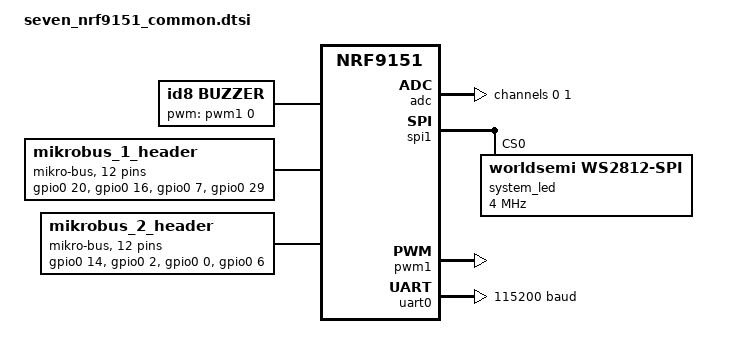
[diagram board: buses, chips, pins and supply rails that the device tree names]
/*
 * Copyright (c) 2026 ID8 Engineering AB
 *
 * SPDX-License-Identifier: Apache-2.0
 */

#include "seven_nrf9151_common-pinctrl.dtsi"
#include <zephyr/dt-bindings/gpio/gpio.h>
#include <zephyr/dt-bindings/led/led.h>
#include <zephyr/dt-bindings/pwm/pwm.h>
#include <zephyr/dt-bindings/regulator/npm13xx.h>
#include <nordic/nrf91xx_partition.dtsi>

/ {
	chosen {
		zephyr,console = &uart0;
		zephyr,led-strip = &system_led;
		zephyr,shell-uart = &uart0;
		zephyr,uart-mcumgr = &uart0;
		ncs,at-host-uart = &uart0;
	};

	/*
	 * Seven provides default serial routing for the mikroBUS™ sockets:
	 *   - mikroBUS™ 1 uses uart2 / i2c2 / spi2
	 *   - mikroBUS™ 2 uses uart3 / i2c3 / spi3
	 *
	 * Application overlays enable the function they need on the target socket.
	 *
	 * On nRF9151, the serial blocks are multiplexed:
	 *   - uart1 / i2c1 / spi1 share one hardware block
	 *   - uart2 / i2c2 / spi2 share one hardware block
	 *   - uart3 / i2c3 / spi3 share one hardware block
	 *
	 * Only one function from each group can be enabled at a time, so each
	 * mikroBUS™ socket may use UART or I2C or SPI, but not multiple of those
	 * functions simultaneously.
	 *
	 * For the non-secure target, uart1 is disabled by default to match the
	 * upstream nrf9151dk behavior where TF-M uses it by default.
	 *
	 * The on-board RGB LED uses spi1 with MOSI on P0.18 by default, so serial
	 * block 1 is not available for mikroBUS™ overlays unless that LED route is
	 * overridden.
	 */

	buzzer: buzzer {
		compatible = "id8,buzzer";
		pwms = <&pwm1 0 PWM_MSEC(20) PWM_POLARITY_NORMAL>;
		status = "okay";
	};

	mikrobus_1_header: mikrobus-connector-1 {
		compatible = "mikro-bus";
		#gpio-cells = <2>;
		gpio-map-mask = <0xffffffff 0xffffffc0>;
		gpio-map-pass-thru = <0 0x3f>;
		gpio-map = <0 0 &gpio0 20 0>,  /* AN */
			   <1 0 &gpio0 16 0>,  /* RST */
			   <2 0 &gpio0 7 0>,   /* CS */
			   <3 0 &gpio0 29 0>,  /* SCK */
			   <4 0 &gpio0 28 0>,  /* MISO */
			   <5 0 &gpio0 21 0>,  /* MOSI */
			   <6 0 &gpio0 17 0>,  /* PWM */
			   <7 0 &gpio0 15 0>,  /* INT */
			   <8 0 &gpio0 13 0>,  /* RX */
			   <9 0 &gpio0 12 0>,  /* TX */
			   <10 0 &gpio0 23 0>, /* SCL */
			   <11 0 &gpio0 22 0>; /* SDA */
	};

	mikrobus_2_header: mikrobus-connector-2 {
		compatible = "mikro-bus";
		#gpio-cells = <2>;
		gpio-map-mask = <0xffffffff 0xffffffc0>;
		gpio-map-pass-thru = <0 0x3f>;
		gpio-map = <0 0 &gpio0 14 0>,  /* AN */
			   <1 0 &gpio0 2 0>,   /* RST */
			   <2 0 &gpio0 0 0>,   /* CS */
			   <3 0 &gpio0 6 0>,   /* SCK */
			   <4 0 &gpio0 5 0>,   /* MISO */
			   <5 0 &gpio0 4 0>,   /* MOSI */
			   <6 0 &gpio0 3 0>,   /* PWM */
			   <7 0 &gpio0 1 0>,   /* INT */
			   <8 0 &gpio0 11 0>,  /* RX */
			   <9 0 &gpio0 10 0>,  /* TX */
			   <10 0 &gpio0 8 0>,  /* SCL */
			   <11 0 &gpio0 9 0>;  /* SDA */
	};

	aliases {
		led-strip = &system_led;
		watchdog0 = &wdt0;
		mikrobus-header-1 = &mikrobus_1_header;
		mikrobus-header-2 = &mikrobus_2_header;
		mikrobus-header = &mikrobus_1_header;
		mikrobus-1-serial = &uart2;
		mikrobus-1-uart = &uart2;
		mikrobus-1-i2c = &i2c2;
		mikrobus-1-spi = &spi2;
		mikrobus-2-serial = &uart3;
		mikrobus-2-uart = &uart3;
		mikrobus-2-i2c = &i2c3;
		mikrobus-2-spi = &spi3;
	};
};

/*
 * Upstream Zephyr shields expect the default mikroBUS™ connector to expose
 * these node labels directly. Socket 1 is the default connector on Seven.
 */
mikrobus_header: &mikrobus_1_header {};

mikrobus_serial: &uart2 {};

mikrobus_i2c: &i2c2 {};

mikrobus_spi: &spi2 {};

/*
 * Also expose explicit labels for both sockets so applications or future
 * shields can target either connector without depending on aliases.
 */
mikrobus_1_serial: &uart2 {};

mikrobus_1_i2c: &i2c2 {};

mikrobus_1_spi: &spi2 {};

mikrobus_2_serial: &uart3 {};

mikrobus_2_i2c: &i2c3 {};

mikrobus_2_spi: &spi3 {};

&adc {
	status = "okay";

	#address-cells = <1>;
	#size-cells = <0>;

	/* mikroBUS 1 AN: P0.20 / AIN7 */
	channel@0 {
		reg = <0>; /* SAADC channel slot 0 */
		zephyr,gain = "ADC_GAIN_1_6";
		zephyr,reference = "ADC_REF_INTERNAL";
		zephyr,acquisition-time = <ADC_ACQ_TIME(ADC_ACQ_TIME_MICROSECONDS, 40)>;
		zephyr,input-positive = <NRF_SAADC_AIN7>;
		zephyr,resolution = <12>;
	};

	/* mikroBUS 2 AN: P0.14 / AIN1 */
	channel@1 {
		reg = <1>; /* SAADC channel slot 1 */
		zephyr,gain = "ADC_GAIN_1_6";
		zephyr,reference = "ADC_REF_INTERNAL";
		zephyr,acquisition-time = <ADC_ACQ_TIME(ADC_ACQ_TIME_MICROSECONDS, 40)>;
		zephyr,input-positive = <NRF_SAADC_AIN1>;
		zephyr,resolution = <12>;
	};
};

&gpiote {
	status = "okay";
};

&gpio0 {
	status = "okay";
};

&spi1 {
	compatible = "nordic,nrf-spim";
	status = "okay";
	pinctrl-0 = <&system_led_spi_default>;
	pinctrl-1 = <&system_led_spi_sleep>;
	pinctrl-names = "default", "sleep";

	system_led: ws2812@0 {
		compatible = "worldsemi,ws2812-spi";
		reg = <0>;
		spi-max-frequency = <4000000>;
		chain-length = <1>;
		color-mapping = <LED_COLOR_ID_GREEN
				 LED_COLOR_ID_RED
				 LED_COLOR_ID_BLUE>;
		spi-one-frame = <0x70>;
		spi-zero-frame = <0x40>;
		reset-delay = <50>;
	};
};

&pwm1 {
	status = "okay";
	pinctrl-0 = <&pwm1_default>;
	pinctrl-1 = <&pwm1_sleep>;
	pinctrl-names = "default", "sleep";
};

&uart0 {
	status = "okay";
	current-speed = <115200>;
	pinctrl-0 = <&uart0_default>;
	pinctrl-1 = <&uart0_sleep>;
	pinctrl-names = "default", "sleep";
};

&uart2 {
	status = "disabled";
	pinctrl-0 = <&mikrobus_1_uart_default>;
	pinctrl-1 = <&mikrobus_1_uart_sleep>;
	pinctrl-names = "default", "sleep";
};

&uart3 {
	status = "disabled";
	pinctrl-0 = <&mikrobus_2_uart_default>;
	pinctrl-1 = <&mikrobus_2_uart_sleep>;
	pinctrl-names = "default", "sleep";
};

&i2c2 {
	status = "disabled";
	pinctrl-0 = <&mikrobus_1_i2c_default>;
	pinctrl-1 = <&mikrobus_1_i2c_sleep>;
	pinctrl-names = "default", "sleep";
};

&i2c3 {
	status = "disabled";
	pinctrl-0 = <&mikrobus_2_i2c_default>;
	pinctrl-1 = <&mikrobus_2_i2c_sleep>;
	pinctrl-names = "default", "sleep";
};

&i2c1 {
	compatible = "nordic,nrf-twim";
	status = "disabled";
	clock-frequency = <I2C_BITRATE_FAST>;
	pinctrl-0 = <&pmic_i2c_default>;
	pinctrl-1 = <&pmic_i2c_sleep>;
	pinctrl-names = "default", "sleep";

	npm1300: pmic@6b {
		compatible = "nordic,npm1300";
		reg = <0x6b>;
		status = "disabled";

		regulators {
			compatible = "nordic,npm1300-regulator";

			vdd_gnss: LDO1 {
				regulator-initial-mode = <NPM13XX_LDSW_MODE_LDSW>;
				regulator-boot-on;
			};

			vdd_power_led: LDO2 {
				regulator-initial-mode = <NPM13XX_LDSW_MODE_LDSW>;
				regulator-boot-on;
			};
		};
	};
};

&spi2 {
	compatible = "nordic,nrf-spim";
	status = "disabled";
	pinctrl-0 = <&mikrobus_1_spi_default>;
	pinctrl-1 = <&mikrobus_1_spi_sleep>;
	pinctrl-names = "default", "sleep";
};

&spi3 {
	compatible = "nordic,nrf-spim";
	status = "disabled";
	pinctrl-0 = <&mikrobus_2_spi_default>;
	pinctrl-1 = <&mikrobus_2_spi_sleep>;
	pinctrl-names = "default", "sleep";
};
